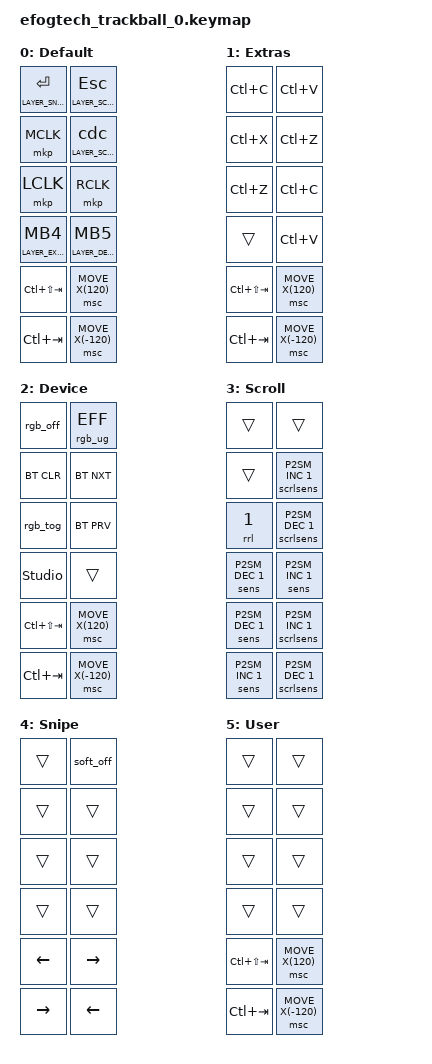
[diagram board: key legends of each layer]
#include <behaviors.dtsi>
#include <dt-bindings/zmk/bt.h>
#include <dt-bindings/zmk/keys.h>
#include <dt-bindings/zmk/pointing.h>
#include <dt-bindings/zmk/outputs.h>
#include <dt-bindings/zmk/p2sm.h>
#include <dt-bindings/zmk/rgb.h>
#include <dt-bindings/zmk/ext_power.h>

#define LAYER_DEFAULT      0
#define LAYER_EXTRAS       1
#define LAYER_DEVICE       2
#define LAYER_SCROLL       3
#define LAYER_SNIPE        4
#define LAYER_USER         5

#define TWIST_MULTIPLIER   1
#define TWIST_DIVISOR      1

#define SCROLL_MULTIPLIER  1
#define SCROLL_DIVISOR     3

#define SNIPE_MULTIPLIER   1
#define SNIPE_DIVISOR      4

/ {
	keymap {
		compatible = "zmk,keymap";

		default_layer {
			display-name = "Default";
			DECLARE_ENCODERS;
			bindings = <
				// buttons
				&ltmkp LAYER_SNIPE ENTER  &ltmkp LAYER_SCROLL ESC
				&mkp MCLK                 &cdch LAYER_SCROLL 0
				&mkp LCLK                 &mkp RCLK
				&ltm LAYER_EXTRAS MB4     &ltm LAYER_DEVICE MB5

				// rotary encoders
				// pos8  = left encoder CCW  -> previous tab
				// pos9  = right encoder CW  -> horizontal scroll right
				// pos10 = left encoder CW   -> next tab
				// pos11 = right encoder CCW -> horizontal scroll left
				&kp LC(LS(TAB))           &msc MOVE_X(120)
				&kp LC(TAB)               &msc MOVE_X(-120)
			>;
		};

		layer2 {
			display-name = "Extras";
			DECLARE_ENCODERS;
			bindings = <
				&kp LC(C)                 &kp LC(V)
				&kp LC(X)                 &kp LC(Z)
				&kp LC(Z)                 &kp LC(C)
				&trans                    &kp LC(V)

				&kp LC(LS(TAB))           &msc MOVE_X(120)
				&kp LC(TAB)               &msc MOVE_X(-120)
			>;
		};

		layer3 {
			display-name = "Device";
			DECLARE_ENCODERS;
			bindings = <
				&rgb_off                  &rgb_ug RGB_EFF
				&bt BT_CLR                &bt BT_NXT
				&rgb_tog                  &bt BT_PRV
				&studio_unlock            &trans

				&kp LC(LS(TAB))           &msc MOVE_X(120)
				&kp LC(TAB)               &msc MOVE_X(-120)
			>;
		};

		layer4 {
			display-name = "Scroll";
			DECLARE_ENCODERS;
			bindings = <
				&trans                    &trans
				&trans                    &scrlsens P2SM_INC 1
				&rrl 1                    &scrlsens P2SM_DEC 1
				&sens P2SM_DEC 1          &sens P2SM_INC 1

				&sens P2SM_DEC 1          &scrlsens P2SM_INC 1
				&sens P2SM_INC 1          &scrlsens P2SM_DEC 1
			>;
		};

		layer5 {
			display-name = "Snipe";
			DECLARE_ENCODERS;
			bindings = <
				&trans                    &soft_off
				&trans                    &trans
				&trans                    &trans
				&trans                    &trans

				&kp LEFT                  &kp RIGHT
				&kp RIGHT                 &kp LEFT
			>;
		};

		layer6 {
			display-name = "User";
			DECLARE_ENCODERS;
			bindings = <
				&trans                    &trans
				&trans                    &trans
				&trans                    &trans
				&trans                    &trans

				&kp LC(LS(TAB))           &msc MOVE_X(120)
				&kp LC(TAB)               &msc MOVE_X(-120)
		    >;
		};
	};

	behaviors {
		cdch: click-double-click-hold {
			compatible = "zmk,behavior-hold-tap";
			display-name = "Copy/paste/layer (click/double-click/hold)";
			#binding-cells = <2>;
			flavor = "tap-preferred";
			tapping-term-ms = <325>;
			bindings = <&mo>, <&cdc>;
		};

		cdc: click-double-click {
			compatible = "zmk,behavior-tap-dance";
			display-name = "Copy/paste (click/double-click)";
			#binding-cells = <0>;
			tapping-term-ms = <300>;
			bindings = <&kp K_COPY>, <&kp K_PASTE>;
		};
	};

	trackball {
		input-processors = <&zip_scroll_scaler TWIST_MULTIPLIER TWIST_DIVISOR>,
						   <&zip_pointer_accel>, <&zip_scroll_accel>,
						   <&zip_rotate_pointer>, <&zip_rotate_scroll>,
						   <&zip_ble_report_rate_limit>;

		scroll {
			layers = <LAYER_SCROLL>;
			input-processors = <&zip_xy_scaler SCROLL_MULTIPLIER SCROLL_DIVISOR>, <&zip_axis_clamper>,
							   <&zip_xy_to_scroll_mapper>, <&zip_scroll_transform INPUT_TRANSFORM_Y_INVERT>,
							   <&zip_scroll_accel>, <&zip_rotate_scroll>, <&zip_ble_report_rate_limit>;
		};

		snipe {
			layers = <LAYER_SNIPE>;
			input-processors = <&zip_xy_scaler SNIPE_MULTIPLIER SNIPE_DIVISOR>,
							   <&zip_rotate_pointer>, <&zip_rotate_scroll>, <&zip_ble_report_rate_limit>;
		};
	};

	macros {
		rgb_tog: rgb_tog {
			compatible = "zmk,behavior-macro";
			display-name = "Toggle RGB";
			#binding-cells = <0>;
			wait-ms = <20>;
			bindings
			= <&rgb_ug RGB_TOG>
			, <&ext_power EP_TOG>
			;
		};

		rgb_off: rgb_off {
			compatible = "zmk,behavior-macro";
			display-name = "RGB off";
			#binding-cells = <0>;
			wait-ms = <20>;
			bindings
			= <&ext_power EP_OFF>
			, <&rgb_ug RGB_OFF>
			;
		};
	};
};

&rotenc_follower {
	tap-ms = <35>;
};

&msc {
	trigger-period-ms = <1>;
	time-to-max-speed-ms = <0>;
	acceleration-exponent = <0>;
};
